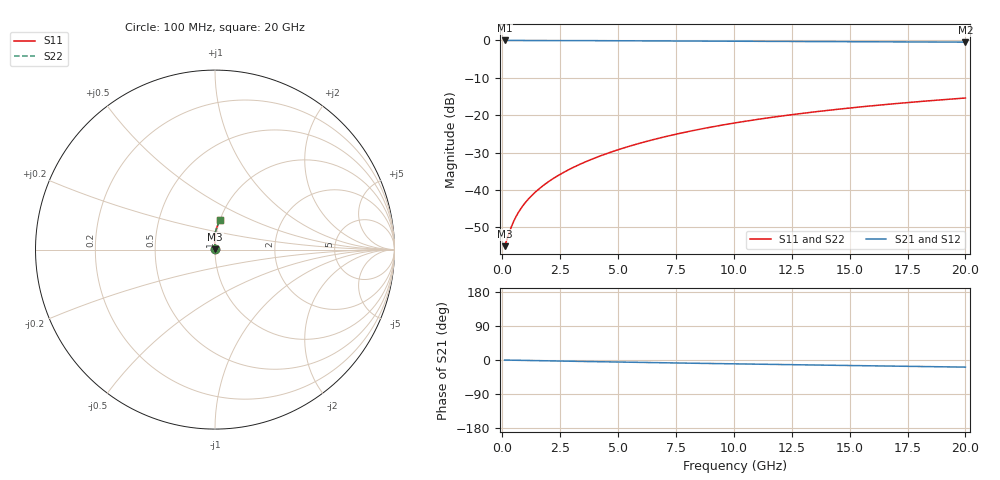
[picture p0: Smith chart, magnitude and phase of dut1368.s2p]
! Touchstone file exported from HFSS 2024.1.0
!  File:  C:/UserFiles/LocalFiles/RDL_TSV_Batchsim/temp_RDL_top_1368_1780366851.aedt
!  Generated:  10:23:19 AM Jun  2, 2026
!  Design:  RDL_top
!  Project:  temp_RDL_top_1368_1780366851
!  Setup:  Setup1
!  Solution:  Sweep
! Variables:
!  dtsv = 10.80580581um
!  hbump = 3um
!  htsv = 99.95um
!  ldown = 100um
!  lrdl = 256.71um
!  p = 40
!  p1 = 47.99um
!  rhole = 1um
!  t = 450um
!  tdown = 3.915915916um
!  trdl = 2.57um
!  wdown = 15.38538539um
!  wrdl = 28.24um
# GHz S MA R 50.000000
! Terminal data exported
! Port[1] = Box2_T1
! Port[2] = Box2_T2
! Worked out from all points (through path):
!   200 points, 100 MHz to 20 GHz, reference 50 ohm
!   highest |S21| = -0.01 dB at 100 MHz (marker M1); lowest = -0.5 dB at 20 GHz (marker M2)
!   group delay of S21, straight-line fit = 2.58 ps
!   lowest |S11| = -55.0 dB at 100 MHz (marker M3), VSWR 1.00, Z = 50.2 + j0.0755 ohm
!   |S11| at or under -10 dB: start of sweep to end of sweep
!   |S22| runs from -55.0 to -15.4 dB; largest |S21 - S12| = 4.1e-15
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0.1  0.001779 25.0  0.9984 -0.1  0.9984 -0.1  0.001779 25.0
! Gamma 0 0 0 0
! Port Impedance 50 0 50 0
0.3  0.002701 52.0  0.9982 -0.4  0.9982 -0.4  0.002723 52.3
0.4  0.003276 58.6  0.9981 -0.5  0.9981 -0.5  0.003301 58.8
0.5  0.003866 63.1  0.998 -0.6  0.998 -0.6  0.003891 63.2
0.6  0.004459 66.4  0.9979 -0.7  0.9979 -0.7  0.004482 66.4
0.7  0.005051 68.9  0.9978 -0.8  0.9978 -0.8  0.005071 68.9
0.9  0.006233 72.9  0.9976 -1.0  0.9976 -1.0  0.006247 72.8
1.2  0.008019 77.1  0.9973 -1.4  0.9973 -1.4  0.008026 77.0
1.7  0.01107 81.8  0.9967 -1.9  0.9967 -1.9  0.01108 81.8
2.2  0.01425 85.0  0.9959 -2.4  0.9959 -2.4  0.01426 85.0
2.8  0.01825 87.6  0.9948 -3.1  0.9948 -3.1  0.01825 87.6
3.5  0.02317 89.8  0.9933 -3.8  0.9933 -3.8  0.02317 89.8
4.2  0.02835 91.2  0.9916 -4.6  0.9916 -4.6  0.02835 91.2
5  0.03458 92.1  0.9894 -5.4  0.9894 -5.4  0.03459 92.1
5.9  0.04195 92.6  0.9868 -6.3  0.9868 -6.3  0.04196 92.6
6.8  0.04963 92.6  0.9841 -7.2  0.9841 -7.2  0.04964 92.7
8.4  0.06384 91.9  0.9793 -8.7  0.9793 -8.7  0.06385 92.0
10.1  0.07941 90.6  0.9743 -10.2  0.9743 -10.2  0.07944 90.6
11.7  0.09427 88.9  0.9698 -11.7  0.9698 -11.7  0.0943 89.0
13.4  0.1101 87.1  0.9652 -13.2  0.9652 -13.2  0.1101 87.1
16.7  0.1404 83.3  0.9566 -16.0  0.9566 -16.0  0.1404 83.4
20  0.1699 79.7  0.9484 -18.8  0.9484 -18.8  0.17 79.7
